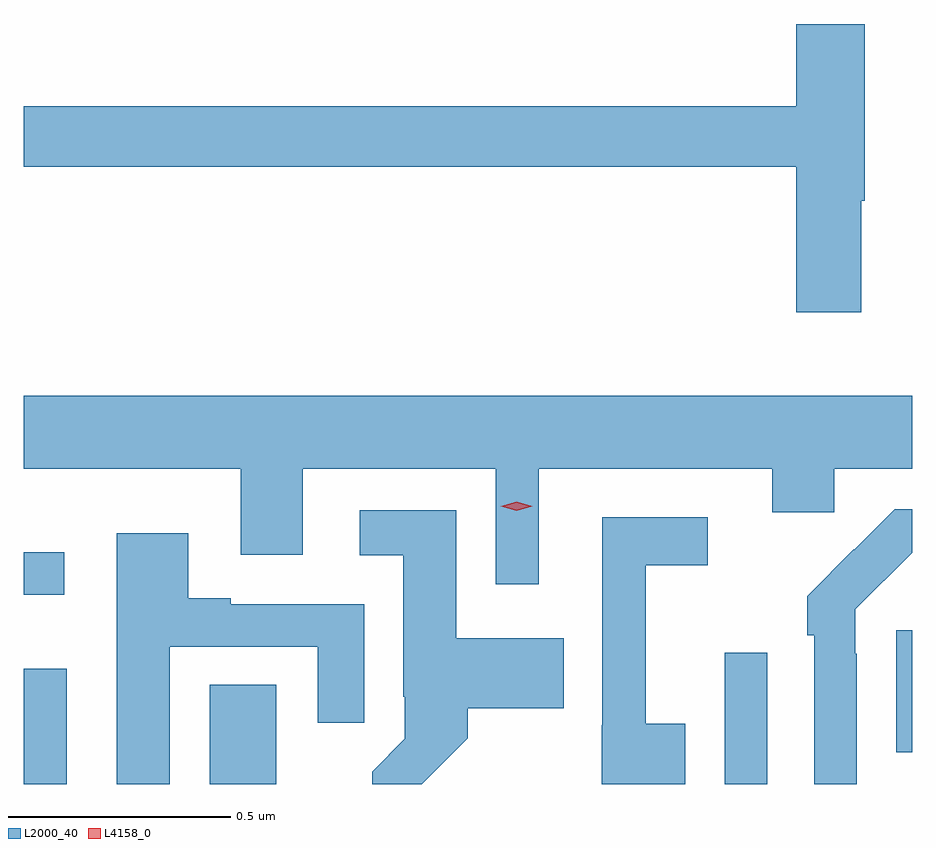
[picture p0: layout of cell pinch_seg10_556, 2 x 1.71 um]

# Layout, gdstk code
import gdstk
lib = gdstk.Library(unit=1e-6, precision=1e-09)
def R(c, l, rs):  # rectangles x0, y0, x1, y1
    for r in rs: c.add(gdstk.rectangle(r[:2], r[2:], *l))
def P(c, l, *ps):  # polygons
    for p in ps: c.add(gdstk.Polygon(p, *l))
L2000_40 = (2000, 40)
L4158_0 = (4158, 0)

pinch_seg10_556 = lib.new_cell('pinch_seg10_556')
R(pinch_seg10_556, L2000_40, [(154.287,1276.962,154.384,1277.221), (154.706,1276.962,154.855,1277.186), (155.865,1276.962,155.961,1277.257), (156.251,1277.033,156.287,1277.308), (154.287,1277.388,154.378,1277.484)])
P(pinch_seg10_556, L2000_40, [(156.172,1278.275),(156.18,1278.275),(156.18,1278.673),(156.026,1278.673),(156.026,1278.488),(154.287,1278.488),(154.287,1278.352),(156.026,1278.352),(156.026,1278.024),(156.172,1278.024)],
  [(155.446,1277.672),(155.972,1277.672),(155.972,1277.574),(156.111,1277.574),(156.111,1277.672),(156.287,1277.672),(156.287,1277.836),(154.287,1277.836),(154.287,1277.672),(154.775,1277.672),(154.775,1277.478),(154.915,1277.478),(154.915,1277.672),(155.349,1277.672),(155.349,1277.412),(155.446,1277.412)],
  [(156.162,1277.255),(156.159,1277.255),(156.159,1277.355),(156.287,1277.483),(156.287,1277.58),(156.248,1277.58),(156.157,1277.489),(156.156,1277.49),(156.051,1277.385),(156.051,1277.297),(156.066,1277.297),(156.066,1276.962),(156.162,1276.962)],
  [(155.286,1277.065),(155.286,1277.132),(155.503,1277.132),(155.503,1277.29),(155.26,1277.29),(155.26,1277.578),(155.043,1277.578),(155.043,1277.477),(155.141,1277.477),(155.141,1277.158),(155.145,1277.158),(155.145,1277.064),(155.071,1276.99),(155.071,1276.962),(155.183,1276.962)],
  [(155.776,1277.098),(155.687,1277.098),(155.687,1277.454),(155.827,1277.454),(155.827,1277.562),(155.589,1277.562),(155.589,1277.094),(155.588,1277.094),(155.588,1276.962),(155.776,1276.962)],
  [(154.615,1277.271),(154.949,1277.271),(154.949,1277.1),(155.053,1277.1),(155.053,1277.367),(154.753,1277.367),(154.753,1277.38),(154.657,1277.38),(154.657,1277.527),(154.496,1277.527),(154.496,1276.962),(154.615,1276.962)])
P(pinch_seg10_556, L4158_0, [(155.397,1277.577),(155.361,1277.587),(155.361,1277.587),(155.361,1277.587),(155.397,1277.597),(155.432,1277.587),(155.432,1277.587),(155.432,1277.587)])

lib.write_gds('pinch_seg10_556.gds')
